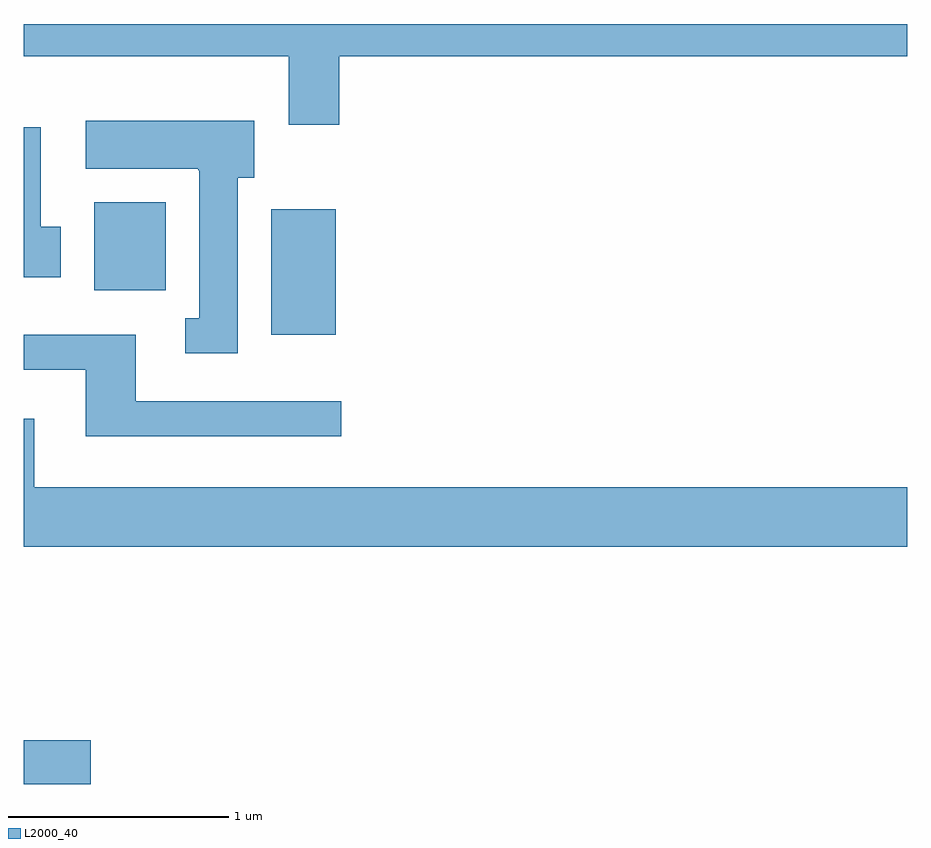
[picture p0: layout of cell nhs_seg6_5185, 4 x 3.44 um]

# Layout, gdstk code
import gdstk
lib = gdstk.Library(unit=1e-6, precision=1e-09)
def R(c, l, rs):  # rectangles x0, y0, x1, y1
    for r in rs: c.add(gdstk.rectangle(r[:2], r[2:], *l))
def P(c, l, *ps):  # polygons
    for p in ps: c.add(gdstk.Polygon(p, *l))
L2000_40 = (2000, 40)

nhs_seg6_5185 = lib.new_cell('nhs_seg6_5185')
R(nhs_seg6_5185, L2000_40, [(343.611,1566.721,343.914,1566.919), (344.731,1568.756,345.024,1569.324), (343.931,1568.956,344.254,1569.354)])
P(nhs_seg6_5185, L2000_40, [(345.039,1570.016),(347.611,1570.016),(347.611,1570.162),(343.611,1570.162),(343.611,1570.016),(344.811,1570.016),(344.811,1569.706),(345.039,1569.706)],
  [(344.579,1569.466),(344.654,1569.466),(344.654,1569.724),(343.891,1569.724),(343.891,1569.506),(344.4,1569.506),(344.4,1569.5),(344.406,1569.5),(344.406,1568.829),(344.343,1568.829),(344.343,1568.671),(344.579,1568.671)],
  [(343.779,1569.244),(343.689,1569.244),(343.689,1569.694),(343.611,1569.694),(343.611,1569.016),(343.779,1569.016)],
  [(345.048,1568.454),(344.119,1568.454),(344.119,1568.754),(343.611,1568.754),(343.611,1568.596),(343.891,1568.596),(343.891,1568.296),(345.048,1568.296)],
  [(347.611,1568.064),(343.659,1568.064),(343.659,1568.374),(343.611,1568.374),(343.611,1567.796),(347.611,1567.796)])

lib.write_gds('nhs_seg6_5185.gds')
